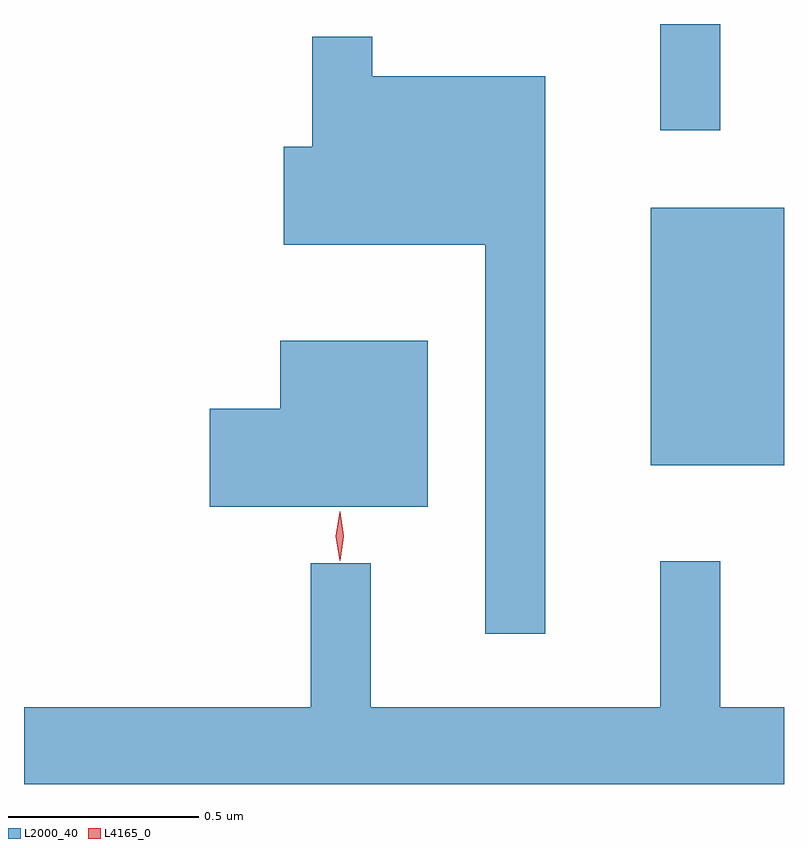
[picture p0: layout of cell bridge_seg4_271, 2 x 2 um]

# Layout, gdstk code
import gdstk
lib = gdstk.Library(unit=1e-6, precision=1e-09)
def R(c, l, rs):  # rectangles x0, y0, x1, y1
    for r in rs: c.add(gdstk.rectangle(r[:2], r[2:], *l))
def P(c, l, *ps):  # polygons
    for p in ps: c.add(gdstk.Polygon(p, *l))
L2000_40 = (2000, 40)
L4165_0 = (4165, 0)

bridge_seg4_271 = lib.new_cell('bridge_seg4_271')
R(bridge_seg4_271, L2000_40, [(414.211,1380.001,414.562,1380.679), (414.236,1380.883,414.394,1381.162)])
P(bridge_seg4_271, L2000_40, [(413.934,1381.024),(413.479,1381.024),(413.479,1381.128),(413.321,1381.128),(413.321,1380.839),(413.246,1380.839),(413.246,1380.581),(413.776,1380.581),(413.776,1379.558),(413.934,1379.558)],
  [(413.624,1380.329),(413.236,1380.329),(413.236,1380.149),(413.051,1380.149),(413.051,1379.891),(413.624,1379.891)],
  [(414.562,1379.364),(414.394,1379.364),(414.394,1379.748),(414.236,1379.748),(414.236,1379.364),(413.474,1379.364),(413.474,1379.743),(413.316,1379.743),(413.316,1379.364),(412.562,1379.364),(412.562,1379.162),(414.562,1379.162)])
P(bridge_seg4_271, L4165_0, [(413.393,1379.749),(413.393,1379.749),(413.383,1379.814),(413.393,1379.879),(413.393,1379.88),(413.394,1379.879),(413.403,1379.814),(413.394,1379.749)])

lib.write_gds('bridge_seg4_271.gds')
